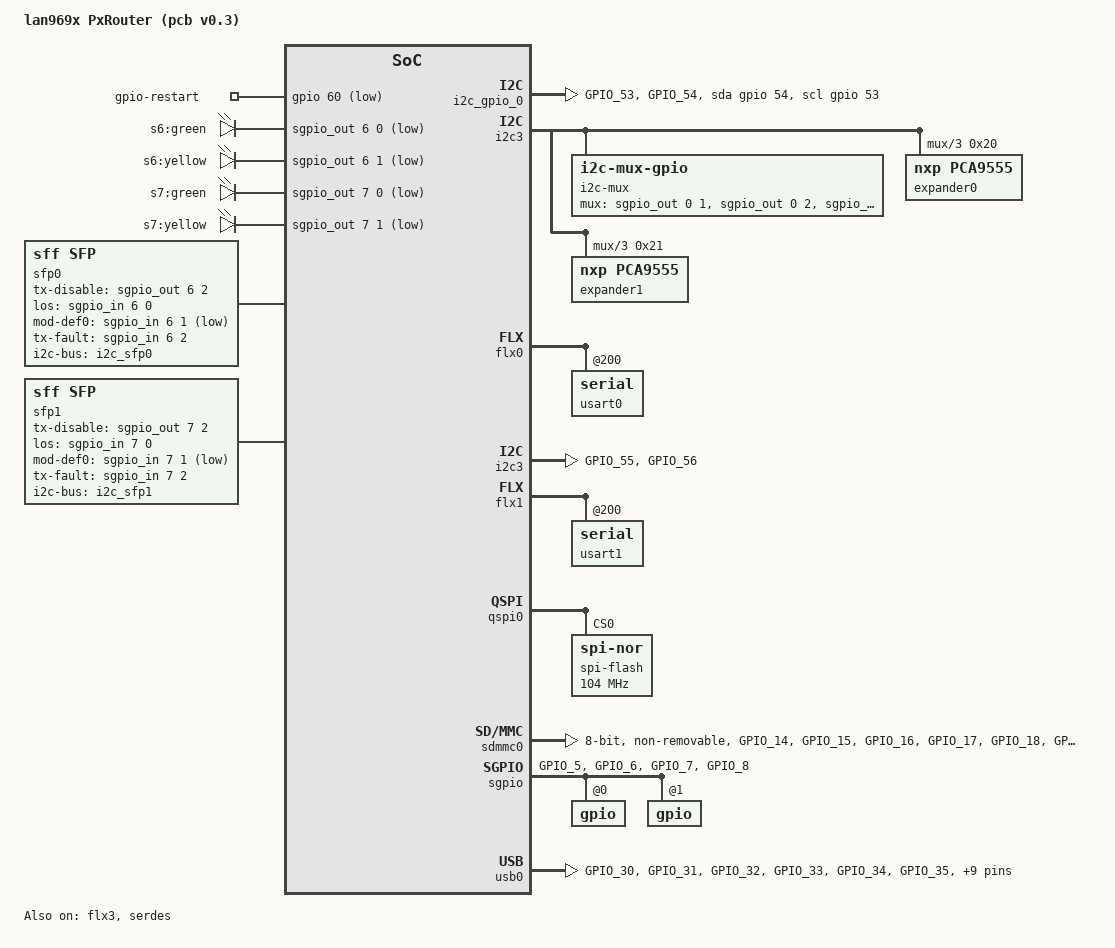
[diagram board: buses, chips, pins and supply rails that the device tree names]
// SPDX-License-Identifier: (GPL-2.0+ OR MIT)

/*
 * Copyright (c) 2022 Microchip Technology Inc. and its subsidiaries.
 */

/dts-v1/;

#include "lan969x.dtsi"

/ {
	model = "lan969x PxRouter (pcb v0.3)";
	aliases {
		serial0 = &usart0;
	};

	chosen {
		stdout-path = "serial0:115200n8";
	};

	gpio-restart {
		compatible = "gpio-restart";
		gpios = <&gpio 60 GPIO_ACTIVE_LOW>;
		open-source;
		priority = <200>;
	};

	i2c_gpio_0: i2c-gpio0 {
		compatible = "i2c-gpio";
		sda-gpios = <&gpio 54 (GPIO_ACTIVE_HIGH|GPIO_OPEN_DRAIN)>;
		scl-gpios = <&gpio 53 (GPIO_ACTIVE_HIGH|GPIO_OPEN_DRAIN)>;
		i2c-gpio,delay-us = <2>;	/* ~100 kHz */
		#address-cells = <1>;
		#size-cells = <0>;
		pinctrl-names = "default";
		pinctrl-0 = <&gpio_i2c_pins>;
		status = "okay";
	};

	i2c-mux {
		compatible = "i2c-mux-gpio";
		#address-cells = <1>;
		#size-cells = <0>;
		i2c-parent = <&i2c3>;

		mux-gpios = <&sgpio_out 0 1 GPIO_ACTIVE_HIGH
			     &sgpio_out 0 2 GPIO_ACTIVE_HIGH
			     &sgpio_out 0 3 GPIO_ACTIVE_HIGH>;
		idle-state = <0x8>;

		i2c_sfp0: i2c-sfp0 {
			reg = <0x0>;
		};

		i2c_sfp1: i2c-sfp1 {
			reg = <0x1>;
		};

		i2c_2: i2c-2 {
			reg = <0x2>;
		};

		i2c_3: i2c-3 {
			reg = <0x3>;
		};

		i2c_4: i2c-4 {
			reg = <0x4>;
		};

		i2c_5: i2c-5 {
			reg = <0x5>;
		};

		i2c_6: i2c-6 {
			reg = <0x6>;
		};

		i2c_poe: i2c-poe {
			reg = <0x7>;
		};
	};

	leds {
		compatible = "gpio-leds";

		led-s6-green {
			label = "s6:green";
			gpios = <&sgpio_out 6 0 GPIO_ACTIVE_LOW>;
			default-state = "off";
		};

		led-s6-yellow {
			label = "s6:yellow";
			gpios = <&sgpio_out 6 1 GPIO_ACTIVE_LOW>;
			default-state = "off";
		};

		led-s7-green {
			label = "s7:green";
			gpios = <&sgpio_out 7 0 GPIO_ACTIVE_LOW>;
			default-state = "off";
		};

		led-s7-yellow {
			label = "s7:yellow";
			gpios = <&sgpio_out 7 1 GPIO_ACTIVE_LOW>;
			default-state = "off";
		};
	};

	sfp0: sfp0 {
		compatible = "sff,sfp";
		i2c-bus = <&i2c_sfp0>;
		tx-disable-gpios = <&sgpio_out 6 2 GPIO_ACTIVE_HIGH>;
		los-gpios = <&sgpio_in 6 0 GPIO_ACTIVE_HIGH>;
		mod-def0-gpios = <&sgpio_in 6 1 GPIO_ACTIVE_LOW>;
		tx-fault-gpios = <&sgpio_in 6 2 GPIO_ACTIVE_HIGH>;
	};

	sfp1: sfp1 {
		compatible = "sff,sfp";
		i2c-bus = <&i2c_sfp1>;
		tx-disable-gpios = <&sgpio_out 7 2 GPIO_ACTIVE_HIGH>;
		los-gpios = <&sgpio_in 7 0 GPIO_ACTIVE_HIGH>;
		mod-def0-gpios = <&sgpio_in 7 1 GPIO_ACTIVE_LOW>;
		tx-fault-gpios = <&sgpio_in 7 2 GPIO_ACTIVE_HIGH>;
	};
};

&i2c_3 {
	#address-cells = <1>;
	#size-cells = <0>;

	expander0: pca9555@20 {
		compatible = "nxp,pca9555";
		reg = <0x20>;

		gpio-controller;
		#gpio-cells = <2>;
	};

	expander1: pca9555@21 {
		compatible = "nxp,pca9555";
		reg = <0x21>;

		gpio-controller;
		#gpio-cells = <2>;
	};
};


&flx0 {
	atmel,flexcom-mode = <ATMEL_FLEXCOM_MODE_USART>;
	status = "okay";

	usart0: serial@200 {
		pinctrl-0 = <&fc0_pins>;
		pinctrl-names = "default";
		status = "okay";
	};
};

&flx3 {
	atmel,flexcom-mode = <ATMEL_FLEXCOM_MODE_TWI>;
	status = "okay";

	i2c3: i2c@600 {
		pinctrl-0 = <&fc3_pins>;
		pinctrl-names = "default";
		i2c-analog-filter;
		i2c-digital-filter;
		i2c-digital-filter-width-ns = <35>;
		i2c-sda-hold-time-ns = <1500>;
		status = "okay";
	};
};

&flx1 {
	atmel,flexcom-mode = <ATMEL_FLEXCOM_MODE_USART>;
	status = "okay";

	usart1: serial@200 {
		pinctrl-0 = <&fc1_pins>;
		pinctrl-names = "default";
		status = "okay";
	};
};

&gpio {
	gpio_i2c_pins: gpio-i2c-pins {
		pins = "GPIO_53", "GPIO_54";
		function = "gpio";
	};

	emmc_sd_pins: emmc-sd-pins {
		/* eMMC_SD - CMD, CLK, D0, D1, D2, D3, D4, D5, D6, D7, RSTN */
		pins = "GPIO_14", "GPIO_15", "GPIO_16", "GPIO_17",
		       "GPIO_18", "GPIO_19", "GPIO_20", "GPIO_21",
		       "GPIO_22", "GPIO_23", "GPIO_24";
		function = "emmc_sd";
	};

	fan_pins: fan-pins {
		pins = "GPIO_25", "GPIO_26";
		function = "fan";
	};

	fc0_pins: fc0-pins {
		pins = "GPIO_3", "GPIO_4";
		function = "fc";
	};

	fc3_pins: fc3-pins {
		pins = "GPIO_55", "GPIO_56";
		function = "fc";
	};

	fc1_pins: fc1-pins {
		pins = "GPIO_28", "GPIO_29";
		function = "fc";
	};

	sgpio_pins: sgpio-pins {
		/* SCK, D0, D1, LD */
		pins = "GPIO_5", "GPIO_6", "GPIO_7", "GPIO_8";
		function = "sgpio_a";
	};

	usb_ulpi_pins: usb-ulpi-pins {
		pins = "GPIO_30", "GPIO_31", "GPIO_32", "GPIO_33",
		"GPIO_34", "GPIO_35", "GPIO_36", "GPIO_37",
		"GPIO_38", "GPIO_39", "GPIO_40", "GPIO_41";
		function = "usb_ulpi";
	};

	usb_rst_pins: usb-rst-pins {
		pins = "GPIO_12";
		function = "usb2phy_rst";
	};

	usb_over_pins: usb-over-pins {
		pins = "GPIO_13";
		function = "usb_over_detect";
	};

	usb_power_pins: usb-power-pins {
		pins = "GPIO_1";
		function = "usb_power";
	};
};

&hwmon {
	pinctrl-0 = <&fan_pins>;
	pinctrl-names = "default";
};

&qspi0 {
	status = "okay";

	spi-flash@0 {
		compatible = "jedec,spi-nor";
		reg = <0>;
		spi-max-frequency = <104000000>;
		#address-cells = <1>;
		#size-cells = <1>;
		spi-tx-bus-width = <1>;
		spi-rx-bus-width = <4>;
		m25p,fast-read;
	};
};

&serdes {
	status = "okay";
};

&sdmmc0 {
	pinctrl-0 = <&emmc_sd_pins>;
	pinctrl-names = "default";
	max-frequency = <100000000>;
	bus-width = <8>;
	non-removable;
	no-1-8-v;
	disable-wp;
	status = "okay";
};

&sgpio {
	pinctrl-0 = <&sgpio_pins>;
	pinctrl-names = "default";

	microchip,sgpio-port-ranges = <0 1>, <6 9>;
	status = "okay";

	gpio@0 {
		ngpios = <128>;
	};
	gpio@1 {
		ngpios = <128>;
	};
};

&usb0 {
	status = "okay";
	pinctrl-0 = <&usb_ulpi_pins>, <&usb_rst_pins>, <&usb_over_pins>, <&usb_power_pins>;
	pinctrl-names = "default";
};
